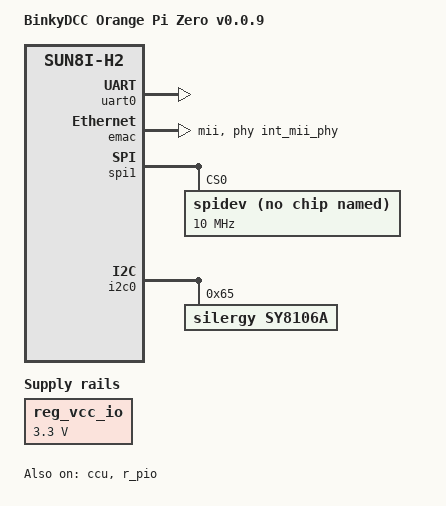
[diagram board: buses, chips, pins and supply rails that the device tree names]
/dts-v1/;
#include "allwinner/sun8i-h3.dtsi"
#include <dt-bindings/gpio/gpio.h>
#include <dt-bindings/clock/sun8i-h3-ccu.h>
#include <dt-bindings/reset/sun8i-h3-ccu.h>

/ {
    model = "BinkyDCC Orange Pi Zero v0.0.9";
    compatible = "xunlong,orangepi-zero", "allwinner,sun8i-h2-plus";

    aliases {
        serial0 = &uart0;
        ethernet0 = &emac;
    };

    chosen {
        stdout-path = "serial0:115200n8";
    };

    /* Fixed regulator for IO and Pin Controller power */
    reg_vcc_io: vcc3v3 {
        compatible = "regulator-fixed";
        regulator-name = "vcc-io";
        regulator-min-microvolt = <3300000>;
        regulator-max-microvolt = <3300000>;
        regulator-always-on;
    };

    cpus {
        cpu@0 { clock-frequency = <480000000>; };
        cpu@1 { clock-frequency = <480000000>; };
        cpu@2 { clock-frequency = <480000000>; };
        cpu@3 { clock-frequency = <480000000>; };
    };
};

/* --- CPU & Clocks --- */
&cpu0 {
    device_type = "cpu";
    cpu-supply = <&sy8106a>; /* Links to the label in r_i2c below */
};

&ccu {
    status = "okay";
};

&osc24M {
    status = "okay";
};

/* --- Networking & Peripherals --- */
&uart0 {
    pinctrl-names = "default";
    pinctrl-0 = <&uart0_pa_pins>;
    status = "okay";
};

&emac {
    phy-handle = <&int_mii_phy>;
    phy-mode = "mii";
    allwinner,leds-active-low;
    status = "okay";
};

&spi1 {
    status = "okay";
    pinctrl-names = "default";
    pinctrl-0 = <&spi1_pins>;

    spidev@0 {
        compatible = "rohm,dh2228fv";
        reg = <0>;
        spi-max-frequency = <10000000>;
    };
};

/* --- Power & Pin Controllers --- */
&pio {
    vcc-pa-supply = <&reg_vcc_io>;
};

&r_pio {
    vcc-pl-supply = <&reg_vcc_io>;
    status = "okay";
};

/* 2. Try the regulator on I2C0 instead of R_I2C */
&i2c0 {
    status = "okay";
    pinctrl-names = "default";
    pinctrl-0 = <&i2c0_pins>;

    sy8106a: sy8106a@65 {
        compatible = "silergy,sy8106a";
        reg = <0x65>;
        regulator-name = "vdd-cpux";
        regulator-min-microvolt = <1000000>;
        regulator-max-microvolt = <1400000>;
        regulator-boot-on;
        regulator-always-on;
    };
};

/* 3. Disable the failing r_i2c for now */
&r_i2c {
    status = "disabled";
};
